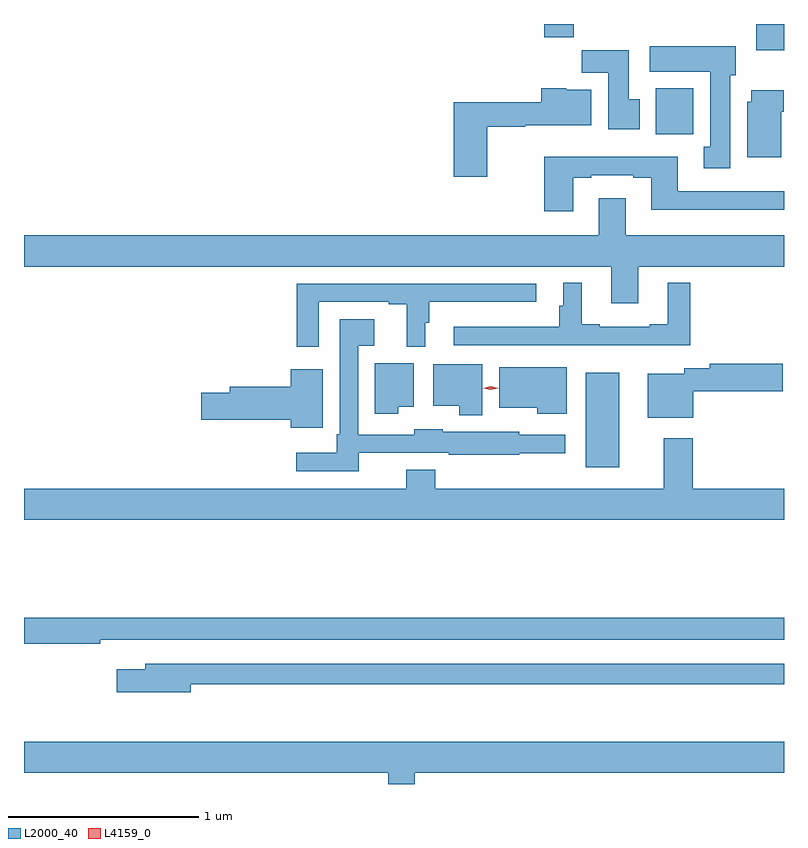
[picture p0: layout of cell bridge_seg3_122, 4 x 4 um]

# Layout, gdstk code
import gdstk
lib = gdstk.Library(unit=1e-6, precision=1e-09)
def R(c, l, rs):  # rectangles x0, y0, x1, y1
    for r in rs: c.add(gdstk.rectangle(r[:2], r[2:], *l))
def P(c, l, *ps):  # polygons
    for p in ps: c.add(gdstk.Polygon(p, *l))
L2000_40 = (2000, 40)
L4159_0 = (4159, 0)

bridge_seg3_122 = lib.new_cell('bridge_seg3_122')
R(bridge_seg3_122, L2000_40, [(639.776,699.86,639.952,700.357), (640.145,701.612,640.342,701.854), (640.673,702.054,640.819,702.193), (639.557,702.124,639.713,702.193)])
P(bridge_seg3_122, L2000_40, [(640.537,701.922),(640.564,701.922),(640.564,702.076),(640.113,702.076),(640.113,701.942),(640.43,701.942),(640.43,701.546),(640.397,701.546),(640.397,701.433),(640.537,701.433)],
  [(640.06,701.796),(640.003,701.796),(640.003,702.055),(639.754,702.055),(639.754,701.936),(639.893,701.936),(639.893,701.64),(640.06,701.64)],
  [(639.258,701.653),(639.458,701.653),(639.458,701.66),(639.805,701.66),(639.805,701.848),(639.672,701.848),(639.672,701.854),(639.542,701.854),(639.542,701.782),(639.08,701.782),(639.08,701.388),(639.258,701.388)],
  [(640.804,701.732),(640.817,701.732),(640.817,701.845),(640.646,701.845),(640.646,701.784),(640.625,701.784),(640.625,701.492),(640.804,701.492)],
  [(639.709,701.385),(639.805,701.385),(639.805,701.397),(640.025,701.397),(640.025,701.385),(640.121,701.385),(640.121,701.216),(640.819,701.216),(640.819,701.313),(640.261,701.313),(640.261,701.494),(639.557,701.494),(639.557,701.208),(639.709,701.208)],
  [(640.051,700.916),(640.819,700.916),(640.819,701.08),(639.985,701.08),(639.985,701.275),(639.845,701.275),(639.845,701.08),(636.819,701.08),(636.819,700.916),(639.911,700.916),(639.911,700.722),(640.051,700.722)],
  [(640.325,700.831),(640.208,700.831),(640.208,700.612),(640.112,700.612),(640.112,700.599),(639.85,700.599),(639.85,700.612),(639.754,700.612),(639.754,700.831),(639.656,700.831),(639.656,700.71),(639.637,700.71),(639.637,700.6),(639.081,700.6),(639.081,700.503),(639.78,700.503),(639.78,700.502),(640.325,700.502)],
  [(638.37,700.731),(638.738,700.731),(638.738,700.719),(638.834,700.719),(638.834,700.494),(638.932,700.494),(638.932,700.62),(638.951,700.62),(638.951,700.73),(639.514,700.73),(639.514,700.827),(638.254,700.827),(638.254,700.494),(638.37,700.494)],
  [(638.58,699.936),(639.054,699.936),(639.054,699.926),(639.426,699.926),(639.426,699.935),(639.667,699.935),(639.667,700.032),(639.426,700.032),(639.426,700.048),(639.024,700.048),(639.024,700.06),(638.874,700.06),(638.874,700.032),(638.577,700.032),(638.577,700.499),(638.662,700.499),(638.662,700.639),(638.481,700.639),(638.481,700.033),(638.465,700.033),(638.465,699.937),(638.253,699.937),(638.253,699.84),(638.58,699.84)],
  [(638.788,700.178),(638.869,700.178),(638.869,700.408),(638.666,700.408),(638.666,700.142),(638.788,700.142)],
  [(640.342,700.259),(640.813,700.259),(640.813,700.406),(640.428,700.406),(640.428,700.381),(640.293,700.381),(640.293,700.353),(640.103,700.353),(640.103,700.121),(640.342,700.121)],
  [(639.232,700.402),(638.972,700.402),(638.972,700.184),(639.11,700.184),(639.11,700.134),(639.232,700.134)],
  [(639.676,700.387),(639.32,700.387),(639.32,700.172),(639.519,700.172),(639.519,700.142),(639.676,700.142)],
  [(638.391,700.171),(638.392,700.171),(638.392,700.375),(638.222,700.375),(638.222,700.283),(637.901,700.283),(637.901,700.253),(637.752,700.253),(637.752,700.111),(638.222,700.111),(638.222,700.068),(638.391,700.068)],
  [(640.819,699.748),(640.34,699.748),(640.34,700.012),(640.187,700.012),(640.187,699.748),(638.984,699.748),(638.984,699.847),(638.831,699.847),(638.831,699.748),(636.819,699.748),(636.819,699.584),(640.819,699.584)],
  [(637.22,698.952),(640.819,698.952),(640.819,699.068),(636.819,699.068),(636.819,698.932),(637.22,698.932)],
  [(637.696,698.718),(640.819,698.718),(640.819,698.826),(637.457,698.826),(637.457,698.797),(637.308,698.797),(637.308,698.675),(637.696,698.675)],
  [(638.875,698.252),(640.819,698.252),(640.819,698.416),(636.819,698.416),(636.819,698.252),(638.735,698.252),(638.735,698.193),(638.875,698.193)])
P(bridge_seg3_122, L4159_0, [(639.276,700.267),(639.236,700.276),(639.235,700.277),(639.236,700.277),(639.276,700.287),(639.316,700.277),(639.316,700.277),(639.316,700.276)])

lib.write_gds('bridge_seg3_122.gds')
